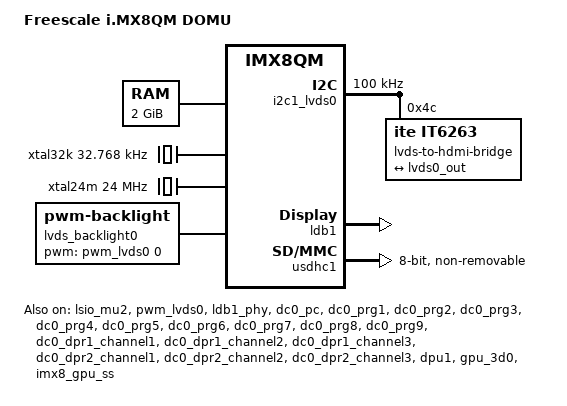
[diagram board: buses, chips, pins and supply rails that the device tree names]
// SPDX-License-Identifier: GPL-2.0+
/*
 * Copyright 2019 NXP
 */

/dts-v1/;

#include <dt-bindings/interrupt-controller/arm-gic.h>
#include <dt-bindings/clock/imx8-clock.h>
#include <dt-bindings/input/input.h>
#include <dt-bindings/firmware/imx/rsrc.h>
#include <dt-bindings/pinctrl/pads-imx8qm.h>
#include <dt-bindings/gpio/gpio.h>
#include <dt-bindings/thermal/thermal.h>
#include <dt-bindings/usb/pd.h>

/*
 * At current stage, M41 is not ready to communicate with XEN, so we
 * we need a way to tell XEN uboot is running or linux is running.
 * XEN will check the contents of this area.
 * So reserve a page at the beginning of GUEST_RAM0_BASE to avoid Linux
 * touch this area.
 */
/memreserve/ 0x80000000 0x1000;

/ {
	model = "Freescale i.MX8QM DOMU";
	compatible = "fsl,imx8qm-mek", "fsl,imx8qm", "xen,xenvm-4.10", "xen,xenvm";
	interrupt-parent = <&gic>;
	#address-cells = <0x2>;
	#size-cells = <0x2>;

	aliases {
		mmc0 = &usdhc1;
		dpu0 = &dpu1;
		ldb0 = &ldb1;
	};

	cpus {
		#address-cells = <0x2>;
		#size-cells = <0x0>;

		cpu@0 {
			device_type = "cpu";
			compatible = "arm,armv8";
			enable-method = "psci";
			reg = <0x0 0x0>;
		};

		cpu@1 {
			device_type = "cpu";
			compatible = "arm,armv8";
			enable-method = "psci";
			reg = <0x0 0x1>;
		};

		cpu@2 {
			device_type = "cpu";
			compatible = "arm,armv8";
			enable-method = "psci";
			reg = <0x0 0x2>;
		};

		cpu@3 {
			device_type = "cpu";
			compatible = "arm,armv8";
			enable-method = "psci";
			reg = <0x0 0x3>;
		};
	};

	psci {
		compatible = "arm,psci-1.0";
		method = "hvc";
	};

	memory@80000000 {
		device_type = "memory";
		/* Will be updated by U-Boot or XEN TOOL */
		reg = <0x00000000 0x80000000 0 0x80000000>;
	};

	/*
	 * The reserved memory will be used when using U-Boot loading android
	 * image. For booting kernel using xl tool, pass args:
	 * cma=960M@2400M-3584M
	 * For the rpmsg_reserved area, need xl tool to create for non-android.
	 */
	reserved-memory {
		#address-cells = <2>;
		#size-cells = <2>;
		ranges;
		passthrough;

		/* global autoconfigured region for contiguous allocations */
		linux,cma {
			compatible = "shared-dma-pool";
			reusable;
			size = <0 0x3c000000>;
			alloc-ranges = <0 0x96000000 0 0x3c000000>;
			linux,cma-default;
		};
	};

	gic: interrupt-controller@3001000 {
		compatible = "arm,gic-v3";
		#interrupt-cells = <3>;
		#address-cells = <0x0>;
		interrupt-controller;
		redistributor-stride = <0x20000>;
		#redistributor-regions = <0x1>;
		reg = <0x0 0x3001000 0 0x10000>, /* GIC Dist */
		      <0x0 0x3020000 0 0x1000000>; /* GICR */
		interrupts = <GIC_PPI 9 (GIC_CPU_MASK_SIMPLE(6) | IRQ_TYPE_LEVEL_HIGH)>;
		interrupt-parent = <&gic>;
		linux,phandle = <0xfde8>;
		phandle = <0xfde8>;
	};

	timer {
		compatible = "arm,armv8-timer";
		interrupts = <GIC_PPI 13 (GIC_CPU_MASK_SIMPLE(6) | IRQ_TYPE_LEVEL_LOW)>,
			     <GIC_PPI 14 (GIC_CPU_MASK_SIMPLE(6) | IRQ_TYPE_LEVEL_LOW)>,
			     <GIC_PPI 11 (GIC_CPU_MASK_SIMPLE(6) | IRQ_TYPE_LEVEL_LOW)>;
		interrupt-parent = <&gic>;
		clock-frequency = <8000000>;
	};

	hypervisor {
		compatible = "xen,xen-4.11", "xen,xen";
		reg = <0x0 0x38000000 0x0 0x1000000>;
		interrupts = <GIC_PPI 15 (GIC_CPU_MASK_SIMPLE(6) | IRQ_TYPE_LEVEL_LOW)>;
		interrupt-parent = <&gic>;
	};

	clocks {
		#address-cells = <1>;
		#size-cells = <0>;

		clk0: clock@0 {
		        compatible = "fixed-clock";
		        reg = <0>;
		        #clock-cells = <0>;
		        clock-frequency = <24000000>;
		};
	};

	rtc0: rtc@23000000 {
		compatible = "arm,pl031", "arm,primecell";
		reg = <0x0 0x23000000 0x0 0x1000>;
		interrupts = <GIC_SPI 1 IRQ_TYPE_LEVEL_HIGH>;
		clocks = <&clk0>;
		clock-names = "apb_pclk";
	};

	passthrough {
		compatible = "simple-bus";
		ranges;
		#address-cells = <2>;
		#size-cells = <2>;

		clk_dummy: clock-dummy {
			compatible = "fixed-clock";
			#clock-cells = <0>;
			clock-frequency = <0>;
			clock-output-names = "clk_dummy";
		};

		xtal32k: clock-xtal32k {
			compatible = "fixed-clock";
			#clock-cells = <0>;
			clock-frequency = <32768>;
			clock-output-names = "xtal_32KHz";
		};

		xtal24m: clock-xtal24m {
			compatible = "fixed-clock";
			#clock-cells = <0>;
			clock-frequency = <24000000>;
			clock-output-names = "xtal_24MHz";
		};

		scu {
			compatible = "fsl,imx-scu";
			mbox-names = "tx0", "tx1", "tx2", "tx3",
				     "rx0", "rx1", "rx2", "rx3",
				     "gip3";
			mboxes = <&lsio_mu2 0 0
				  &lsio_mu2 0 1
				  &lsio_mu2 0 2
				  &lsio_mu2 0 3
				  &lsio_mu2 1 0
				  &lsio_mu2 1 1
				  &lsio_mu2 1 2
				  &lsio_mu2 1 3
				  &lsio_mu2 3 3>;

			pd: imx8qx-pd {
				compatible = "fsl,imx8qm-scu-pd", "fsl,scu-pd";
				#power-domain-cells = <1>;
			};

			clk: clock-controller {
				compatible = "fsl,imx8qm-clk", "fsl,scu-clk";
				#clock-cells = <2>;
				clocks = <&xtal32k &xtal24m>;
				clock-names = "xtal_32KHz", "xtal_24Mhz";
			};

			iomuxc: pinctrl {
				compatible = "fsl,imx8qm-iomuxc";
			};

		};

		#include "imx8-ss-conn.dtsi"
		#include "imx8-ss-lsio.dtsi"
		#include "imx8-ss-dc0.dtsi"
		#include "imx8-ss-dc1.dtsi"
		#include "imx8-ss-gpu0.dtsi"
		#include "imx8-ss-gpu1.dtsi"

		display-subsystem {
			compatible = "fsl,imx-display-subsystem";
			ports = <&dpu1_disp0>, <&dpu1_disp1>;
		};

		lvds_backlight0: lvds_backlight@0 {
			compatible = "pwm-backlight";
			pwms = <&pwm_lvds0 0 100000 0>;

			brightness-levels = < 0  1  2  3  4  5  6  7  8  9
					     10 11 12 13 14 15 16 17 18 19
					     20 21 22 23 24 25 26 27 28 29
					     30 31 32 33 34 35 36 37 38 39
					     40 41 42 43 44 45 46 47 48 49
					     50 51 52 53 54 55 56 57 58 59
					     60 61 62 63 64 65 66 67 68 69
					     70 71 72 73 74 75 76 77 78 79
					     80 81 82 83 84 85 86 87 88 89
					     90 91 92 93 94 95 96 97 98 99
					    100>;
			default-brightness-level = <80>;
		};
	};
};

#include "imx8qm-ss-conn.dtsi"
#include "imx8qm-ss-lsio.dtsi"
#include "imx8qm-ss-dc.dtsi"
#include "imx8qm-ss-gpu.dtsi"
#include "imx8qm-ss-lvds.dtsi"
#include "imx8qm-ss-mipi.dtsi"
#include "imx8qm-ss-hdmi.dtsi"

&lvds1_subsys {
	xen,passthrough;
};

&hdmi_subsys {
	xen,passthrough;
};

&lsio_mu1 {
	status = "disabled";
};

&lsio_mu2 {
	status = "okay";
};

&pwm_lvds0 {
	pinctrl-names = "default";
	pinctrl-0 = <&pinctrl_pwm_lvds0>;
	status = "okay";
};

&i2c1_lvds0 {
	#address-cells = <1>;
	#size-cells = <0>;
	pinctrl-names = "default";
	pinctrl-0 = <&pinctrl_lvds0_lpi2c1>;
	clock-frequency = <100000>;
	status = "okay";

	lvds-to-hdmi-bridge@4c {
		compatible = "ite,it6263";
		reg = <0x4c>;

		port {
			it6263_0_in: endpoint {
				remote-endpoint = <&lvds0_out>;
			};
		};
	};
};

&ldb1_phy {
	status="okay";
};

&ldb1 {
	status="okay";

	lvds-channel@0 {
		fsl,data-mapping = "jeida";
		fsl,data-width = <24>;
		status = "okay";

		port@1 {
			reg = <1>;

			lvds0_out: endpoint {
				remote-endpoint = <&it6263_0_in>;
			};
		};
	};
};

&dc0_pc {
	status="okay";
};

&dc0_prg1 {
	status="okay";
};

&dc0_prg2 {
	status="okay";
};

&dc0_prg3 {
	status="okay";
};

&dc0_prg4 {
	status="okay";
};

&dc0_prg5 {
	status="okay";
};

&dc0_prg6 {
	status="okay";
};

&dc0_prg7 {
	status="okay";
};

&dc0_prg8 {
	status="okay";
};

&dc0_prg9 {
	status="okay";
};

&dc0_dpr1_channel1 {
	status="okay";
};

&dc0_dpr1_channel2 {
	status="okay";
};

&dc0_dpr1_channel3 {
	status="okay";
};

&dc0_dpr2_channel1 {
	status="okay";
};

&dc0_dpr2_channel2 {
	status="okay";
};

&dc0_dpr2_channel3 {
	status="okay";
};

&dpu1 {
	status="okay";
};

&gpu_3d0 {
	status = "okay";
};

&gpu_3d1 {
	status = "disabled";
};

&imx8_gpu_ss {
	/* xen guests have 2GB of low RAM @ 2GB */
	reg = <0x80000000 0x80000000>, <0x0 0x10000000>;
	reg-names = "phys_baseaddr", "contiguous_mem";
	cores = <&gpu_3d0>;
	status = "okay";
};

&iomuxc {
	pinctrl_pwm_lvds0: pwmlvds0grp {
		fsl,pins = <
			IMX8QM_LVDS0_GPIO00_LVDS0_PWM0_OUT		0x00000020
		>;
	};

	pinctrl_lvds0_lpi2c1: lvds0lpi2c1grp {
		fsl,pins = <
			IMX8QM_LVDS0_I2C1_SCL_LVDS0_I2C1_SCL	0xc600004c
			IMX8QM_LVDS0_I2C1_SDA_LVDS0_I2C1_SDA	0xc600004c
		>;
	};

	pinctrl_usdhc1: usdhc1grp {
		fsl,pins = <
			IMX8QM_EMMC0_CLK_CONN_EMMC0_CLK				0x06000041
			IMX8QM_EMMC0_CMD_CONN_EMMC0_CMD				0x00000021
			IMX8QM_EMMC0_DATA0_CONN_EMMC0_DATA0			0x00000021
			IMX8QM_EMMC0_DATA1_CONN_EMMC0_DATA1			0x00000021
			IMX8QM_EMMC0_DATA2_CONN_EMMC0_DATA2			0x00000021
			IMX8QM_EMMC0_DATA3_CONN_EMMC0_DATA3			0x00000021
			IMX8QM_EMMC0_DATA4_CONN_EMMC0_DATA4			0x00000021
			IMX8QM_EMMC0_DATA5_CONN_EMMC0_DATA5			0x00000021
			IMX8QM_EMMC0_DATA6_CONN_EMMC0_DATA6			0x00000021
			IMX8QM_EMMC0_DATA7_CONN_EMMC0_DATA7			0x00000021
			IMX8QM_EMMC0_STROBE_CONN_EMMC0_STROBE			0x00000041
		>;
	};
};

&usdhc1 {
	/delete-property/ iommus;
	pinctrl-names = "default", "state_100mhz", "state_200mhz";
	pinctrl-0 = <&pinctrl_usdhc1>;
	pinctrl-1 = <&pinctrl_usdhc1>;
	pinctrl-2 = <&pinctrl_usdhc1>;
	bus-width = <8>;
	no-sd;
	no-sdio;
	non-removable;
	status = "okay";
};

&usdhc2 {
	/delete-property/ iommus;
	status = "disabled";
};

&usdhc3 {
	/delete-property/ iommus;
	status = "disabled";
};

&fec1 {
	/delete-property/ iommus;
	status = "disabled";
};

&fec2 {
	/delete-property/ iommus;
	status = "disabled";
};

&usbotg3 {
	/delete-property/ iommus;
	status = "disabled";
};
